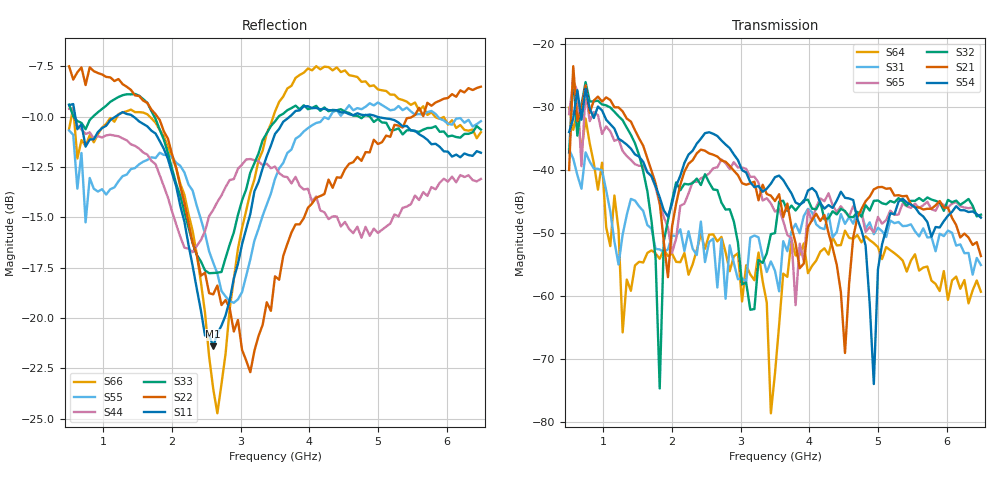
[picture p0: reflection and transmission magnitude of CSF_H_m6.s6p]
!Keysight Technologies,M9804A,MY58100912,A.14.10.03
!Date: Thursday, April 27, 2023 10:28:33
!Correction: S11(C  6-Port  )
!S12(C  6-Port  )
!S13(C  6-Port  )
!S14(C  6-Port  )
!S15(C  6-Port  )
!S16(C  6-Port  )
!S21(C  6-Port  )
!S22(C  6-Port  )
!S23(C  6-Port  )
!S24(C  6-Port  )
!S25(C  6-Port  )
!S26(C  6-Port  )
!S31(C  6-Port  )
!S32(C  6-Port  )
!S33(C  6-Port  )
!S34(C  6-Port  )
!S35(C  6-Port  )
!S36(C  6-Port  )
!S41(C  6-Port  )
!S42(C  6-Port  )
!S43(C  6-Port  )
!S44(C  6-Port  )
!S45(C  6-Port  )
!S46(C  6-Port  )
!S51(C  6-Port  )
!S52(C  6-Port  )
!S53(C  6-Port  )
!S54(C  6-Port  )
!S55(C  6-Port  )
!S56(C  6-Port  )
!S61(C  6-Port  )
!S62(C  6-Port  )
!S63(C  6-Port  )
!S64(C  6-Port  )
!S65(C  6-Port  )
!S66(C  6-Port  )
!S6P File: Measurement: :
# Hz S  RI  R 50
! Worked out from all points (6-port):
!   101 points, 500 MHz to 6.5 GHz, reference 50 ohm
!   strongest paths, dB at 500 MHz, 2 GHz, 3.5 GHz, 5 GHz, 6.5 GHz:
!     S54: -34.0, -45.3, -41.2, -55.8, -47.6
!     S21: -40.0, -49.0, -45.0, -42.8, -53.7
!     S32: -37.3, -44.9, -50.0, -44.9, -47.1
!     S65: -31.2, -53.2, -46.6, -47.5, -47.3
!     S31: -36.8, -50.4, -56.0, -49.2, -55.1
!     S64: -30.1, -53.3, -72.2, -52.3, -59.4
!   lowest |S11| = -21.4 dB at 2.6 GHz (marker M1), VSWR 1.19, Z = 42.4 + j2.18 ohm
!   |S11| at or under -10 dB: 589.8 MHz to 1.177 GHz (587 MHz wide, 66.5 % of centre); 1.436 GHz to 3.716 GHz (2.28 GHz wide, 88.5 % of centre); 4.981 GHz to end of sweep
